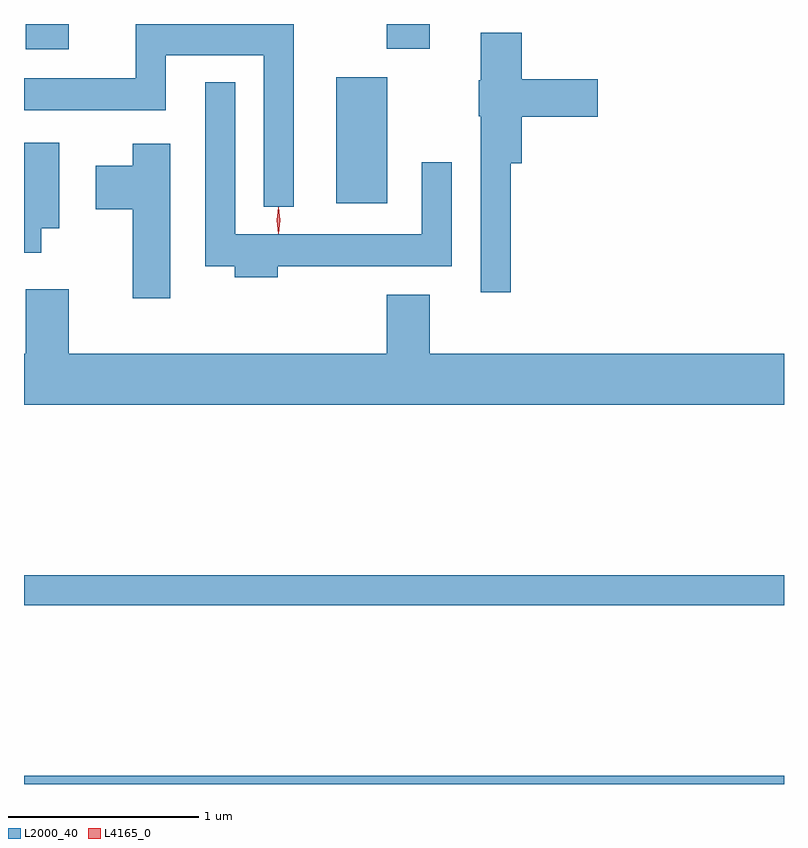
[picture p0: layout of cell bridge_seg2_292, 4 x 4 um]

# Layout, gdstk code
import gdstk
lib = gdstk.Library(unit=1e-6, precision=1e-09)
def R(c, l, rs):  # rectangles x0, y0, x1, y1
    for r in rs: c.add(gdstk.rectangle(r[:2], r[2:], *l))
def P(c, l, *ps):  # polygons
    for p in ps: c.add(gdstk.Polygon(p, *l))
L2000_40 = (2000, 40)
L4165_0 = (4165, 0)

bridge_seg2_292 = lib.new_cell('bridge_seg2_292')
R(bridge_seg2_292, L2000_40, [(423.773,1066.3,427.773,1066.344), (423.773,1067.241,427.773,1067.399), (425.416,1069.356,425.684,1070.019), (423.781,1070.166,424.009,1070.3), (425.681,1070.171,425.909,1070.3)])
P(bridge_seg2_292, L2000_40, [(425.194,1070.3),(424.361,1070.3),(424.361,1070.014),(423.773,1070.014),(423.773,1069.846),(424.519,1069.846),(424.519,1070.136),(425.036,1070.136),(425.036,1069.338),(425.194,1069.338)],
  [(426.334,1069.566),(426.394,1069.566),(426.394,1069.811),(426.794,1069.811),(426.794,1070.009),(426.394,1070.009),(426.394,1070.254),(426.176,1070.254),(426.176,1070.005),(426.166,1070.005),(426.166,1069.815),(426.176,1069.815),(426.176,1068.888),(426.334,1068.888)],
  [(425.109,1069.026),(426.024,1069.026),(426.024,1069.573),(425.866,1069.573),(425.866,1069.194),(424.884,1069.194),(424.884,1069.993),(424.726,1069.993),(424.726,1069.026),(424.881,1069.026),(424.881,1068.966),(425.109,1068.966)],
  [(423.864,1069.226),(423.959,1069.226),(423.959,1069.674),(423.773,1069.674),(423.773,1069.096),(423.864,1069.096)],
  [(424.544,1069.669),(424.346,1069.669),(424.346,1069.554),(424.151,1069.554),(424.151,1069.326),(424.346,1069.326),(424.346,1068.856),(424.544,1068.856)],
  [(427.773,1068.564),(425.909,1068.564),(425.909,1068.874),(425.681,1068.874),(425.681,1068.564),(424.009,1068.564),(424.009,1068.904),(423.781,1068.904),(423.781,1068.564),(423.773,1068.564),(423.773,1068.296),(427.773,1068.296)])
P(bridge_seg2_292, L4165_0, [(425.112,1069.197),(425.112,1069.197),(425.102,1069.267),(425.112,1069.336),(425.112,1069.336),(425.113,1069.336),(425.122,1069.267),(425.113,1069.197)])

lib.write_gds('bridge_seg2_292.gds')
